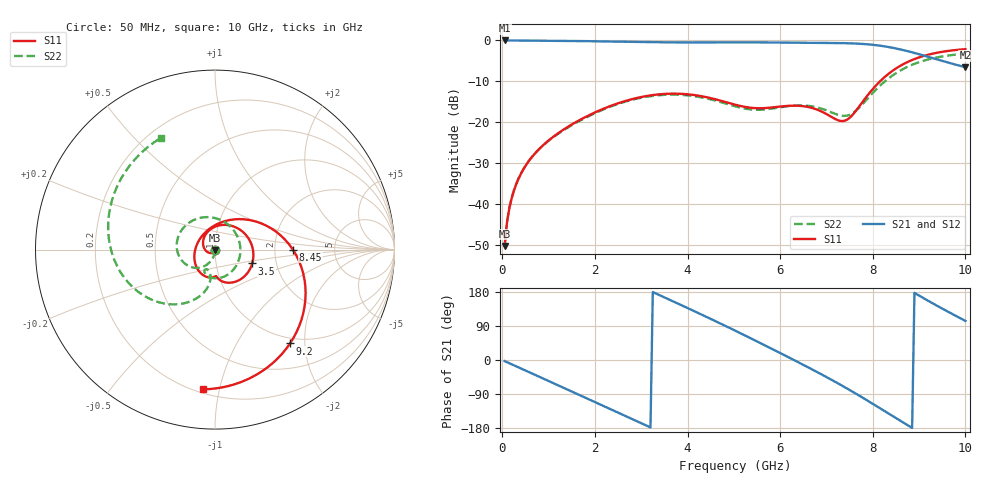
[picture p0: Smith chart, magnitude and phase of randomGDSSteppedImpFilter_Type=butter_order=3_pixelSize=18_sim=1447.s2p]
! freq	dB(S11)	phase(S11)	dB(S12)	phase(S12)
!  dB(S21)	phase(S21)	dB(S22)	phase(S22)
!S-par simulation data
#  GHz  S  DB  R 50
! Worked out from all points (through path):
!   200 points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, 50 MHz to 10 GHz, reference 50 ohm
!   highest |S21| = -0.01 dB at 50 MHz (marker M1); lowest = -6.6 dB at 10 GHz (marker M2)
!   group delay of S21, straight-line fit = 170 ps
!   lowest |S11| = -50.3 dB at 50 MHz (marker M3), VSWR 1.01, Z = 50 - j0.303 ohm
!   |S11| at or under -10 dB: start of sweep to 8.158 GHz
!   |S22| runs from -50.4 to -3.2 dB; largest |S21 - S12| = 0
!   S11 on the Smith chart (normalised r, x): 50 MHz: 1.00, -0.01; 3.5 GHz: 1.50, -0.24; 8.45 GHz: 2.53, +0.00; 9.2 GHz: 0.90, -1.71; 10 GHz: 0.22, -0.89
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0.05  -50.35 -86.5  -0.01 -2.8  -0.01 -2.8  -50.39 -81.7
0.1  -44.69 -95.0  -0.01 -5.6  -0.01 -5.6  -44.59 -87.1
0.2  -38.76 -107.1  -0.02 -11.2  -0.02 -11.2  -38.63 -91.3
0.45  -31.68 -132.5  -0.04 -25.0  -0.04 -25.0  -31.59 -97.2
1.15  -23.18 160.6  -0.10 -63.7  -0.10 -63.7  -23.29 -110.5
1.75  -19.02 106.9  -0.17 -97.1  -0.17 -97.1  -19.21 -122.8
2.65  -14.86 35.6  -0.32 -147.2  -0.32 -147.2  -15.01 -150.6
3.4  -13.19 -14.4  -0.45 170.9  -0.45 170.9  -13.40 176.1
3.5  -13.10 -20.4  -0.46 165.3  -0.46 165.3  -13.32 171.0
4.35  -13.76 -63.8  -0.49 117.2  -0.49 117.2  -14.06 119.3
5.05  -15.80 -83.8  -0.46 76.2  -0.46 76.2  -16.20 57.7
5.95  -16.26 -93.4  -0.51 21.5  -0.51 21.5  -16.46 -43.1
6.7  -16.56 -128.3  -0.59 -25.4  -0.59 -25.4  -16.16 -102.1
7.3  -19.71 157.2  -0.65 -65.1  -0.65 -65.1  -18.37 -115.0
7.55  -18.40 104.9  -0.72 -82.6  -0.72 -82.6  -17.93 -104.7
7.95  -12.57 45.8  -1.01 -111.9  -1.01 -111.9  -13.46 -100.9
8.35  -8.09 8.1  -1.63 -142.1  -1.63 -142.1  -9.21 -120.1
8.45  -7.25 0.0  -1.85 -149.6  -1.85 -149.6  -8.39 -126.6
8.8  -5.03 -25.7  -2.76 -175.6  -2.76 -175.6  -6.19 -151.7
9.2  -3.49 -51.4  -4.02 156.0  -4.02 156.0  -4.65 177.7
9.6  -2.61 -74.0  -5.33 129.1  -5.33 129.1  -3.74 146.7
10  -2.14 -94.8  -6.56 103.2  -6.56 103.2  -3.21 116.0
